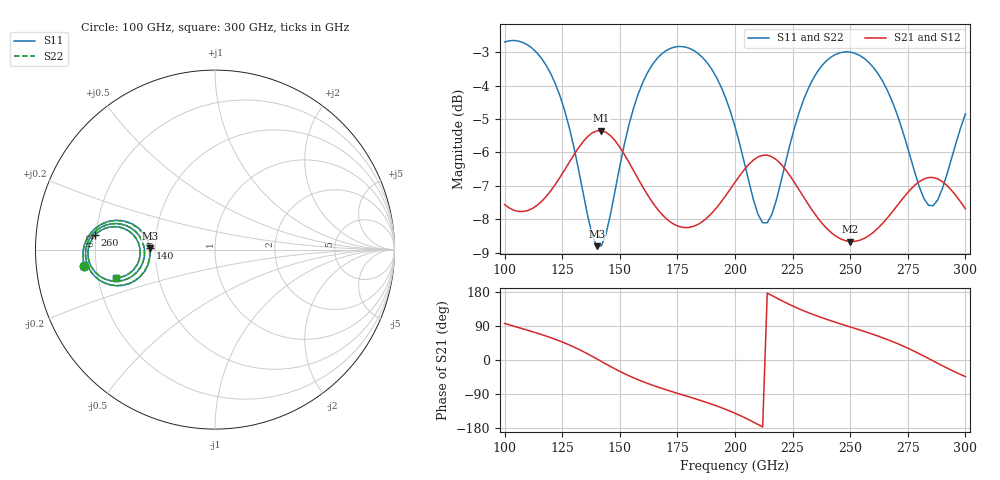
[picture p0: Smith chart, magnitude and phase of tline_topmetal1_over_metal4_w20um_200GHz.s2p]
#  GHZ S DB R 50
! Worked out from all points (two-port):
!   101 points, 100 GHz to 300 GHz, reference 50 ohm
!   highest |S21| = -5.35 dB at 142 GHz (marker M1); lowest = -8.7 dB at 250 GHz (marker M2)
!   |S21| within 3 dB of the highest: start of sweep to 241 GHz; 260.7 GHz to end of sweep
!   lowest |S11| = -8.8 dB at 140 GHz (marker M3), VSWR 2.14, Z = 23.4 + j0.404 ohm
!   |S11| at or under -10 dB: nowhere
!   |S22| runs from -8.8 to -2.7 dB; largest |S21 - S12| = 6.6e-14
!   S11 on the Smith chart (normalised r, x): 100 GHz: 0.15, -0.06; 140 GHz: 0.47, +0.01; 260 GHz: 0.20, +0.06; 300 GHz: 0.28, -0.13
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100  -2.70 -172.9  -7.56 96.5  -7.56 96.5  -2.70 -172.8
112  -2.89 175.4  -7.68 74.8  -7.68 74.8  -2.88 175.5
122  -3.94 166.4  -6.96 54.6  -6.96 54.6  -3.93 166.6
134  -7.18 164.6  -5.68 22.6  -5.68 22.6  -7.15 164.8
140  -8.80 178.8  -5.36 3.0  -5.36 3.0  -8.75 178.9
142  -8.79 -174.3  -5.35 -3.8  -5.35 -3.8  -8.74 -174.3
148  -7.13 -160.3  -5.65 -23.7  -5.65 -23.7  -7.09 -160.4
154  -5.17 -158.8  -6.30 -41.7  -6.30 -41.7  -5.15 -158.9
168  -3.07 -170.1  -7.83 -74.4  -7.83 -74.4  -3.06 -170.1
184  -3.04 175.6  -8.15 -104.8  -8.15 -104.8  -3.04 175.6
200  -5.23 164.8  -6.89 -140.5  -6.89 -140.5  -5.22 164.9
208  -7.41 170.0  -6.23 -163.9  -6.23 -163.9  -7.40 170.0
214  -8.10 -175.6  -6.08 176.7  -6.08 176.7  -8.08 -175.7
224  -5.73 -161.5  -6.71 145.5  -6.71 145.5  -5.72 -161.5
234  -3.79 -165.9  -7.78 119.8  -7.78 119.8  -3.78 -166.0
250  -3.00 -179.1  -8.66 87.3  -8.66 87.3  -3.00 -179.1
260  -3.45 173.0  -8.39 67.5  -8.39 67.5  -3.45 173.0
268  -4.44 167.9  -7.80 49.5  -7.80 49.5  -4.43 167.9
276  -6.11 167.7  -7.12 28.3  -7.12 28.3  -6.10 167.7
284  -7.58 179.1  -6.75 3.9  -6.75 3.9  -7.57 179.1
290  -7.08 -168.9  -6.87 -15.0  -6.87 -15.0  -7.07 -168.9
300  -4.85 -164.0  -7.68 -43.8  -7.68 -43.8  -4.84 -164.0
